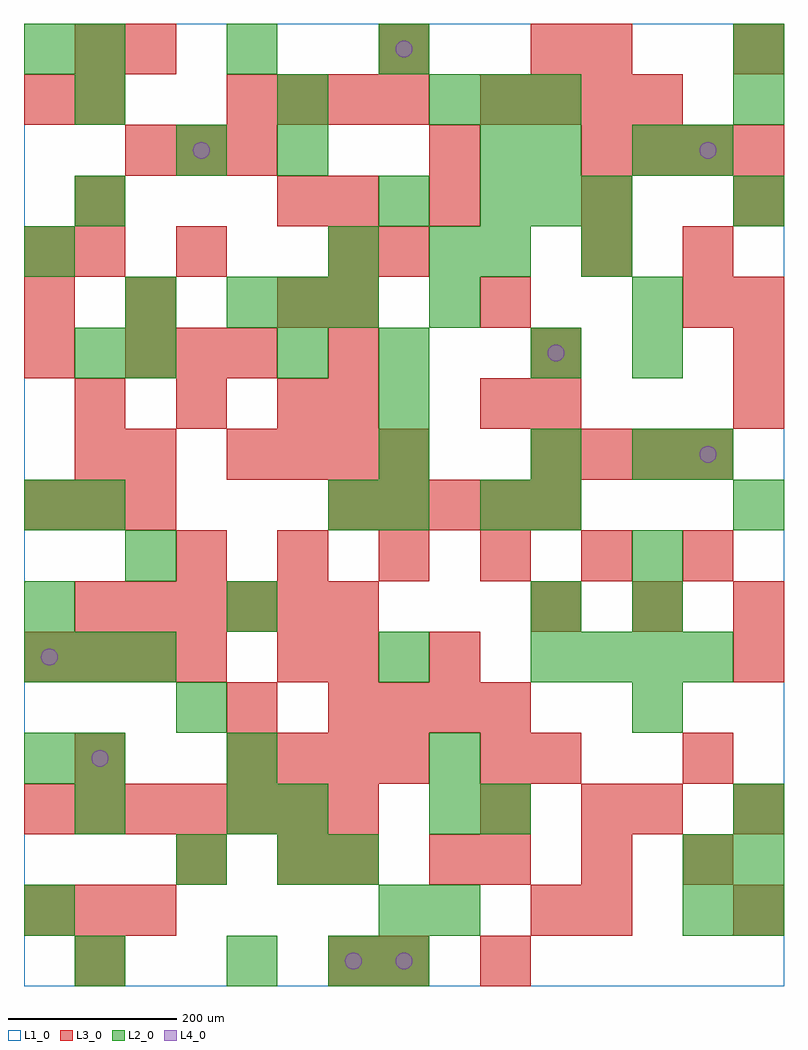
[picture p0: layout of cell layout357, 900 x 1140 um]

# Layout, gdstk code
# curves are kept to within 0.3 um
import gdstk
lib = gdstk.Library(unit=1e-6, precision=1e-09)
def R(c, l, rs):  # rectangles x0, y0, x1, y1
    for r in rs: c.add(gdstk.rectangle(r[:2], r[2:], *l))
def A(c, l, x, y, w, h, nx, ny, dx, dy):  # array of equal rectangles
    R(c, l, [(x+i*dx, y+j*dy, x+i*dx+w, y+j*dy+h) for i in range(nx) for j in range(ny)])
def P(c, l, *ps):  # polygons
    for p in ps: c.add(gdstk.Polygon(p, *l))
L1_0 = (1, 0)
L2_0 = (2, 0)
L3_0 = (3, 0)
L4_0 = (4, 0)

layout357 = lib.new_cell('layout357')
R(layout357, L1_0, [(0,0,900,1140)])
A(layout357, L2_0, 0, 60, 60, 60, 1, 3, 0, 180)
A(layout357, L2_0, 840, 60, 60, 60, 1, 3, 0, 60)
A(layout357, L2_0, 0, 360, 60, 60, 3, 1, 60, 0)
A(layout357, L2_0, 600, 360, 60, 60, 4, 1, 60, 0)
A(layout357, L2_0, 720, 480, 60, 60, 1, 3, 0, 120)
A(layout357, L2_0, 60, 540, 60, 60, 1, 3, 0, 180)
A(layout357, L2_0, 420, 540, 60, 60, 1, 4, 0, 60)
A(layout357, L2_0, 240, 780, 60, 60, 3, 1, 60, 0)
A(layout357, L2_0, 540, 900, 60, 60, 3, 1, 60, 0)
A(layout357, L2_0, 480, 1020, 60, 60, 3, 1, 60, 0)
A(layout357, L2_0, 60, 1080, 60, 60, 3, 1, 180, 0)
R(layout357, L2_0, [(60,0,120,60), (240,0,300,60), (360,0,420,60), (420,0,480,60), (420,60,480,120), (480,60,540,120), (780,60,840,120), (180,120,240,180), (300,120,360,180), (360,120,420,180), (780,120,840,180), (60,180,120,240), (240,180,300,240), (300,180,360,240), (480,180,540,240), (540,180,600,240), (60,240,120,300), (240,240,300,300), (480,240,540,300), (180,300,240,360), (720,300,780,360), (420,360,480,420), (240,420,300,480), (600,420,660,480), (720,420,780,480), (120,480,180,540), (0,540,60,600), (360,540,420,600), (540,540,600,600), (600,540,660,600), (840,540,900,600), (600,600,660,660), (780,600,840,660), (120,720,180,780), (300,720,360,780), (600,720,660,780), (120,780,180,840), (480,780,540,840), (720,780,780,840), (0,840,60,900), (360,840,420,900), (480,840,540,900), (540,840,600,900), (660,840,720,900), (420,900,480,960), (840,900,900,960), (180,960,240,1020), (300,960,360,1020), (540,960,600,1020), (600,960,660,1020), (720,960,780,1020), (780,960,840,1020), (60,1020,120,1080), (300,1020,360,1080), (840,1020,900,1080), (0,1080,60,1140), (840,1080,900,1140)])
A(layout357, L3_0, 0, 60, 60, 60, 3, 2, 60, 480)
A(layout357, L3_0, 540, 120, 60, 60, 3, 1, 120, 0)
A(layout357, L3_0, 0, 180, 60, 60, 7, 1, 60, 0)
A(layout357, L3_0, 240, 240, 60, 60, 4, 2, 60, 360)
A(layout357, L3_0, 600, 240, 60, 60, 1, 3, 0, 420)
A(layout357, L3_0, 360, 300, 60, 60, 4, 1, 60, 0)
A(layout357, L3_0, 0, 360, 60, 60, 4, 1, 60, 0)
A(layout357, L3_0, 60, 420, 60, 60, 6, 1, 60, 0)
A(layout357, L3_0, 600, 420, 60, 60, 3, 1, 120, 0)
A(layout357, L3_0, 180, 480, 60, 60, 6, 1, 120, 0)
A(layout357, L3_0, 360, 540, 60, 60, 5, 1, 60, 0)
A(layout357, L3_0, 600, 600, 60, 60, 4, 1, 60, 0)
A(layout357, L3_0, 60, 660, 60, 60, 3, 1, 120, 0)
A(layout357, L3_0, 0, 720, 60, 60, 1, 3, 0, 60)
A(layout357, L3_0, 120, 720, 60, 60, 3, 2, 60, 240)
A(layout357, L3_0, 360, 720, 60, 60, 3, 1, 240, 0)
A(layout357, L3_0, 360, 780, 60, 60, 1, 3, 0, 60)
A(layout357, L3_0, 480, 900, 60, 60, 3, 1, 180, 0)
A(layout357, L3_0, 660, 960, 60, 60, 4, 1, 60, 0)
A(layout357, L3_0, 240, 1020, 60, 60, 4, 1, 60, 0)
A(layout357, L3_0, 540, 1020, 60, 60, 4, 1, 60, 0)
R(layout357, L3_0, [(60,0,120,60), (360,0,420,60), (420,0,480,60), (540,0,600,60), (600,60,660,120), (660,60,720,120), (840,60,900,120), (180,120,240,180), (300,120,360,180), (360,120,420,180), (480,120,540,180), (540,180,600,240), (660,180,720,240), (720,180,780,240), (840,180,900,240), (60,240,120,300), (540,240,600,300), (780,240,840,300), (240,300,300,360), (300,360,360,420), (360,360,420,420), (480,360,540,420), (840,360,900,420), (60,600,120,660), (120,600,180,660), (360,660,420,720), (540,660,600,720), (840,660,900,720), (120,780,180,840), (300,780,360,840), (540,780,600,840), (780,780,840,840), (840,780,900,840), (60,840,120,900), (180,840,240,900), (420,840,480,900), (660,840,720,900), (780,840,840,900), (60,900,120,960), (300,900,360,960), (480,960,540,1020), (0,1020,60,1080), (60,1020,120,1080), (60,1080,120,1140), (120,1080,180,1140), (420,1080,480,1140), (660,1080,720,1140), (840,1080,900,1140)])
P(layout357, L4_0, [(40,390),(39.239,393.827),(37.071,397.071),(33.827,399.239),(30,400),(26.173,399.239),(22.929,397.071),(20.761,393.827),(20,390),(20.761,386.173),(22.929,382.929),(26.173,380.761),(30,380),(33.827,380.761),(37.071,382.929),(39.239,386.173)],
  [(100,270),(99.239,273.827),(97.071,277.071),(93.827,279.239),(90,280),(86.173,279.239),(82.929,277.071),(80.761,273.827),(80,270),(80.761,266.173),(82.929,262.929),(86.173,260.761),(90,260),(93.827,260.761),(97.071,262.929),(99.239,266.173)],
  [(220,990),(219.239,993.827),(217.071,997.071),(213.827,999.239),(210,1000),(206.173,999.239),(202.929,997.071),(200.761,993.827),(200,990),(200.761,986.173),(202.929,982.929),(206.173,980.761),(210,980),(213.827,980.761),(217.071,982.929),(219.239,986.173)],
  [(400,30),(399.239,33.827),(397.071,37.071),(393.827,39.239),(390,40),(386.173,39.239),(382.929,37.071),(380.761,33.827),(380,30),(380.761,26.173),(382.929,22.929),(386.173,20.761),(390,20),(393.827,20.761),(397.071,22.929),(399.239,26.173)],
  [(460,30),(459.239,33.827),(457.071,37.071),(453.827,39.239),(450,40),(446.173,39.239),(442.929,37.071),(440.761,33.827),(440,30),(440.761,26.173),(442.929,22.929),(446.173,20.761),(450,20),(453.827,20.761),(457.071,22.929),(459.239,26.173)],
  [(460,1110),(459.239,1113.827),(457.071,1117.071),(453.827,1119.239),(450,1120),(446.173,1119.239),(442.929,1117.071),(440.761,1113.827),(440,1110),(440.761,1106.173),(442.929,1102.929),(446.173,1100.761),(450,1100),(453.827,1100.761),(457.071,1102.929),(459.239,1106.173)],
  [(640,750),(639.239,753.827),(637.071,757.071),(633.827,759.239),(630,760),(626.173,759.239),(622.929,757.071),(620.761,753.827),(620,750),(620.761,746.173),(622.929,742.929),(626.173,740.761),(630,740),(633.827,740.761),(637.071,742.929),(639.239,746.173)],
  [(820,630),(819.239,633.827),(817.071,637.071),(813.827,639.239),(810,640),(806.173,639.239),(802.929,637.071),(800.761,633.827),(800,630),(800.761,626.173),(802.929,622.929),(806.173,620.761),(810,620),(813.827,620.761),(817.071,622.929),(819.239,626.173)],
  [(820,990),(819.239,993.827),(817.071,997.071),(813.827,999.239),(810,1000),(806.173,999.239),(802.929,997.071),(800.761,993.827),(800,990),(800.761,986.173),(802.929,982.929),(806.173,980.761),(810,980),(813.827,980.761),(817.071,982.929),(819.239,986.173)])

lib.write_gds('layout357.gds')
